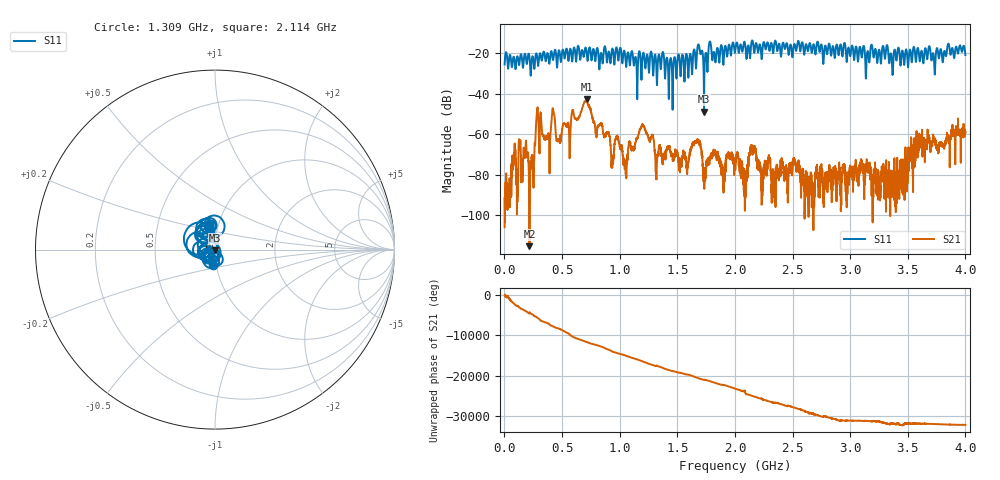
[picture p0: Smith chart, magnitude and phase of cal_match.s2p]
!Created with skrf (http://scikit-rf.org).
# GHz S RI R 50.0
!freq ReS11 ImS11 ReS21 ImS21 ReS12 ImS12 ReS22 ImS22
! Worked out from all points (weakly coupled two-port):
!   4000 points, 1 MHz to 4 GHz, reference 50 ohm
!   highest |S21| = -42.74 dB at 712 MHz (marker M1); lowest = -115.2 dB at 217 MHz (marker M2)
!   lowest |S11| = -48.8 dB at 1.732 GHz (marker M3), VSWR 1.01, Z = 49.8 - j0.281 ohm
!   |S11| at or under -10 dB: start of sweep to end of sweep
!   S12 and S22 are empty: the file has one direction only
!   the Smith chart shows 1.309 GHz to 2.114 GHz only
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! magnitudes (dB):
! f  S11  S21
! 1 MHz  -25.6  -105.8
! 217 MHz  -22.1  -115.2
! 296 MHz  -24.8  -55.1
! 376 MHz  -20.3  -60.5
! 424 MHz  -23.0  -48.6
! 470 MHz  -19.0  -63.0
! 668 MHz  -19.1  -48.7
! 712 MHz  -19.2  -42.7
! 936 MHz  -17.8  -72.7
! 978 MHz  -18.6  -61.0
! 1.05 GHz  -23.1  -76.0
! 1.196 GHz  -23.5  -55.2
! 1.334 GHz  -22.3  -70.3
! 1.586 GHz  -22.4  -78.5
! 1.675 GHz  -17.2  -63.3
! 1.732 GHz  -48.8  -77.9
! 2.001 GHz  -19.7  -75.8
! 2.091 GHz  -16.8  -88.7
! 2.155 GHz  -14.4  -67.2
! 2.667 GHz  -19.8  -96.0
! 3.334 GHz  -22.0  -80.6
! 4 GHz  -21.0  -58.9
